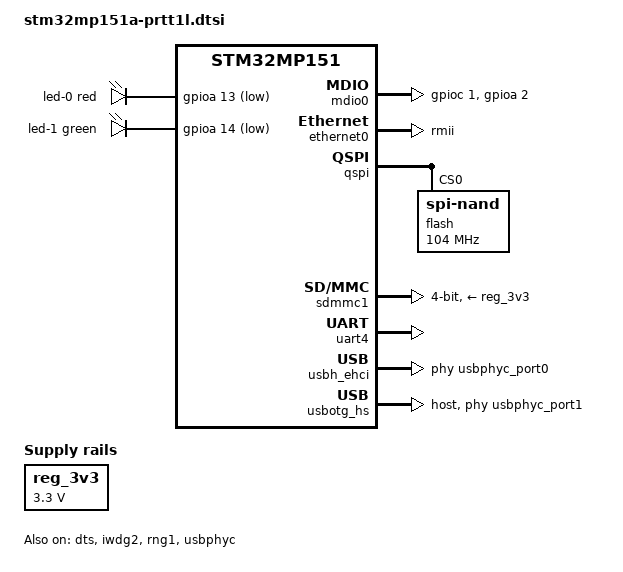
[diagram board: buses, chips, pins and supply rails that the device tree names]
// SPDX-License-Identifier: (GPL-2.0+ OR BSD-3-Clause)
/*
 * Copyright (C) Protonic Holland
 * Author: David Jander <david@protonic.nl>
 */
/dts-v1/;

#include "stm32mp151.dtsi"
#include "stm32mp15-pinctrl.dtsi"
#include "stm32mp15xxad-pinctrl.dtsi"
#include <dt-bindings/gpio/gpio.h>
#include <dt-bindings/input/input.h>
#include <dt-bindings/leds/common.h>

/ {
	aliases {
		ethernet0 = &ethernet0;
		mdio-gpio0 = &mdio0;
		serial0 = &uart4;
	};

	led-controller-0 {
		compatible = "gpio-leds";

		led-0 {
			color = <LED_COLOR_ID_RED>;
			function = LED_FUNCTION_INDICATOR;
			gpios = <&gpioa 13 GPIO_ACTIVE_LOW>;
		};

		led-1 {
			color = <LED_COLOR_ID_GREEN>;
			function = LED_FUNCTION_INDICATOR;
			gpios = <&gpioa 14 GPIO_ACTIVE_LOW>;
			linux,default-trigger = "heartbeat";
		};
	};


	/* DP83TD510E PHYs have max MDC rate of 1.75MHz. Since we can't reduce
	 * stmmac MDC clock without reducing system bus rate, we need to use
	 * gpio based MDIO bus.
	 */
	mdio0: mdio {
		compatible = "virtual,mdio-gpio";
		#address-cells = <1>;
		#size-cells = <0>;
		gpios = <&gpioc 1 GPIO_ACTIVE_HIGH
			 &gpioa 2 GPIO_ACTIVE_HIGH>;
	};

	reg_3v3: regulator-3v3 {
		compatible = "regulator-fixed";
		regulator-name = "3v3";
		regulator-min-microvolt = <3300000>;
		regulator-max-microvolt = <3300000>;
	};
};

&dts {
	status = "okay";
};

&ethernet0 {
	pinctrl-0 = <&ethernet0_rmii_pins_a>;
	pinctrl-1 = <&ethernet0_rmii_sleep_pins_a>;
	pinctrl-names = "default", "sleep";
	phy-mode = "rmii";
	status = "okay";
};

&ethernet0_rmii_pins_a {
	pins1 {
		pinmux = <STM32_PINMUX('B', 12, AF11)>, /* ETH1_RMII_TXD0 */
			 <STM32_PINMUX('B', 13, AF11)>, /* ETH1_RMII_TXD1 */
			 <STM32_PINMUX('B', 11, AF11)>; /* ETH1_RMII_TX_EN */
	};
	pins2 {
		pinmux = <STM32_PINMUX('C', 4, AF11)>,  /* ETH1_RMII_RXD0 */
			 <STM32_PINMUX('C', 5, AF11)>,  /* ETH1_RMII_RXD1 */
			 <STM32_PINMUX('A', 1, AF11)>,  /* ETH1_RMII_REF_CLK input */
			 <STM32_PINMUX('A', 7, AF11)>;  /* ETH1_RMII_CRS_DV */
	};
};

&ethernet0_rmii_sleep_pins_a {
	pins1 {
		pinmux = <STM32_PINMUX('B', 12, ANALOG)>, /* ETH1_RMII_TXD0 */
			 <STM32_PINMUX('B', 13, ANALOG)>, /* ETH1_RMII_TXD1 */
			 <STM32_PINMUX('B', 11, ANALOG)>, /* ETH1_RMII_TX_EN */
			 <STM32_PINMUX('C', 4, ANALOG)>,  /* ETH1_RMII_RXD0 */
			 <STM32_PINMUX('C', 5, ANALOG)>,  /* ETH1_RMII_RXD1 */
			 <STM32_PINMUX('A', 1, ANALOG)>,  /* ETH1_RMII_REF_CLK */
			 <STM32_PINMUX('A', 7, ANALOG)>;  /* ETH1_RMII_CRS_DV */
	};
};

&iwdg2 {
	status = "okay";
};

&qspi {
	pinctrl-names = "default", "sleep";
	pinctrl-0 = <&qspi_clk_pins_a &qspi_bk1_pins_a>;
	pinctrl-1 = <&qspi_clk_sleep_pins_a &qspi_bk1_sleep_pins_a>;
	reg = <0x58003000 0x1000>, <0x70000000 0x4000000>;
	#address-cells = <1>;
	#size-cells = <0>;
	status = "okay";

	flash@0 {
		compatible = "spi-nand";
		reg = <0>;
		spi-rx-bus-width = <4>;
		spi-max-frequency = <104000000>;
		#address-cells = <1>;
		#size-cells = <1>;
	};
};

&qspi_bk1_pins_a {
	pins1 {
		bias-pull-up;
		drive-push-pull;
		slew-rate = <1>;
	};
};

&rng1 {
	status = "okay";
};

&sdmmc1 {
	pinctrl-names = "default", "opendrain", "sleep";
	pinctrl-0 = <&sdmmc1_b4_pins_a>;
	pinctrl-1 = <&sdmmc1_b4_od_pins_a>;
	pinctrl-2 = <&sdmmc1_b4_sleep_pins_a>;
	broken-cd;
	st,neg-edge;
	bus-width = <4>;
	vmmc-supply = <&reg_3v3>;
	vqmmc-supply = <&reg_3v3>;
	status = "okay";
};

&sdmmc1_b4_od_pins_a {
	pins1 {
		bias-pull-up;
	};
	pins2 {
		bias-pull-up;
	};
};

&sdmmc1_b4_pins_a {
	pins1 {
		bias-pull-up;
	};
	pins2 {
		bias-pull-up;
	};
};

&uart4 {
	pinctrl-names = "default", "sleep", "idle";
	pinctrl-0 = <&uart4_pins_a>;
	pinctrl-1 = <&uart4_sleep_pins_a>;
	pinctrl-2 = <&uart4_idle_pins_a>;
	/delete-property/dmas;
	/delete-property/dma-names;
	status = "okay";
};

&uart4_idle_pins_a {
	pins1 {
		pinmux = <STM32_PINMUX('B', 9, ANALOG)>; /* UART4_TX */
	};
	pins2 {
		pinmux = <STM32_PINMUX('B', 2, AF8)>; /* UART4_RX */
		bias-pull-up;
	};
};

&uart4_pins_a {
	pins1 {
		pinmux = <STM32_PINMUX('B', 9, AF8)>; /* UART4_TX */
		bias-disable;
		drive-push-pull;
		slew-rate = <0>;
	};
	pins2 {
		pinmux = <STM32_PINMUX('B', 2, AF8)>; /* UART4_RX */
		bias-pull-up;
	};
};

&uart4_sleep_pins_a {
	pins {
		pinmux = <STM32_PINMUX('B', 9, ANALOG)>, /* UART4_TX */
			<STM32_PINMUX('B', 2, ANALOG)>; /* UART4_RX */
	};
};

&usbh_ehci {
	phys = <&usbphyc_port0>;
	phy-names = "usb";
	status = "okay";
};

&usbotg_hs {
	dr_mode = "host";
	pinctrl-0 = <&usbotg_hs_pins_a>;
	pinctrl-names = "default";
	phys = <&usbphyc_port1 0>;
	phy-names = "usb2-phy";
	status = "okay";
};

&usbphyc {
	status = "okay";
};

&usbphyc_port0 {
	phy-supply = <&reg_3v3>;
};

&usbphyc_port1 {
	phy-supply = <&reg_3v3>;
};
